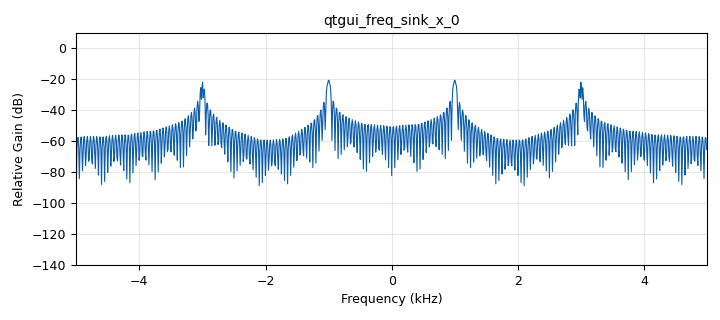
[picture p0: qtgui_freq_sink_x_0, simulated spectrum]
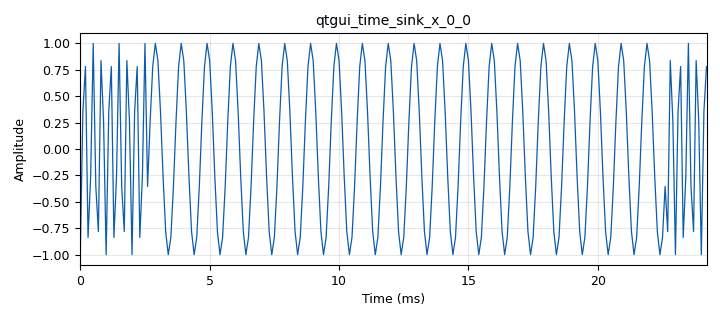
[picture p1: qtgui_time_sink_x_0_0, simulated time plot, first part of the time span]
options:
  parameters:
    author: pawav
    generate_options: qt_gui
    id: FSK
    output_language: python
    title: Not titled yet
  states: {}

blocks:
- name: Rb
  id: variable
  parameters:
    value: '50'
  states: {}
- name: fdev
  id: variable
  parameters:
    value: '3000'
  states: {}
- name: samp_rate
  id: variable
  parameters:
    value: '10000'
  states: {}
- name: analog_frequency_modulator_fc_0
  id: analog_frequency_modulator_fc
  parameters:
    sensitivity: (2*3.1415926535*fdev) / samp_rate
  states: {}
- name: analog_sig_source_x_0_0
  id: analog_sig_source_x
  parameters:
    amp: '2'
    freq: Rb/2
    offset: '1'
    phase: '0'
    samp_rate: samp_rate
    type: float
    waveform: analog.GR_SQR_WAVE
  states: {}
- name: blocks_complex_to_real_0
  id: blocks_complex_to_real
  parameters: {}
  states: {}
- name: blocks_multiply_const_vxx_0
  id: blocks_multiply_const_vxx
  parameters:
    const: '1'
    type: float
  states: {}
- name: blocks_throttle2_0
  id: blocks_throttle2
  parameters:
    samples_per_second: samp_rate
    type: float
  states: {}
- name: qtgui_freq_sink_x_0
  id: qtgui_freq_sink_x
  parameters:
    bw: samp_rate
    fc: '0'
    fftsize: '1024'
    type: float
  states: {}
- name: qtgui_time_sink_x_0_0
  id: qtgui_time_sink_x
  parameters:
    autoscale: 'True'
    size: '1024'
    srate: samp_rate
    tr_mode: qtgui.TRIG_MODE_NORM
    type: float
  states: {}

connections:
- [analog_frequency_modulator_fc_0, '0', blocks_complex_to_real_0, '0']
- [analog_sig_source_x_0_0, '0', blocks_multiply_const_vxx_0, '0']
- [blocks_complex_to_real_0, '0', blocks_throttle2_0, '0']
- [blocks_multiply_const_vxx_0, '0', analog_frequency_modulator_fc_0, '0']
- [blocks_throttle2_0, '0', qtgui_freq_sink_x_0, '0']
- [blocks_throttle2_0, '0', qtgui_time_sink_x_0_0, '0']

metadata:
  file_format: 1
  grc_version: 3.10.12.0
